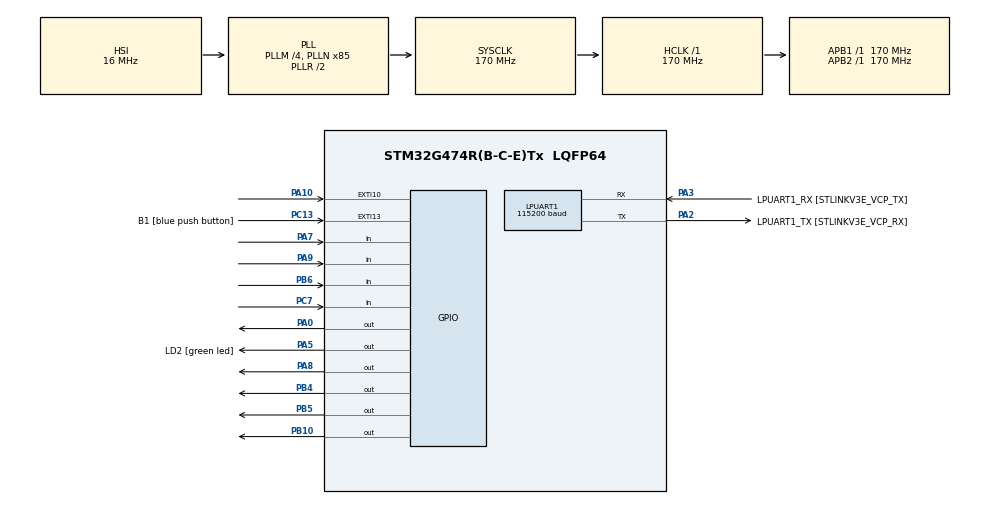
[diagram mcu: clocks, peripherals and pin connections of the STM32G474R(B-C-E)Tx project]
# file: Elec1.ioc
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LPUART1.BaudRate=115200
LPUART1.WordLength=UART_WORDLENGTH_8B
Mcu.Family=STM32G4
Mcu.Name=STM32G474R(B-C-E)Tx
Mcu.Package=LQFP64
NVIC.EXTI15_10_IRQn=true\:0\:0\:false\:false\:true\:true\:true\:true
NVIC.PriorityGroup=NVIC_PRIORITYGROUP_4
PA0.Signal=GPIO_Output
PA10.GPIO_ModeDefaultEXTI=GPIO_MODE_IT_FALLING
PA10.Signal=GPXTI10
PA13.GPIO_Label=T_SWDIO
PA13.Signal=SYS_JTMS-SWDIO
PA14.GPIO_Label=T_SWCLK
PA14.Signal=SYS_JTCK-SWCLK
PA2.GPIO_Label=LPUART1_TX [STLINKV3E_VCP_RX]
PA2.Mode=Asynchronous
PA2.Signal=LPUART1_TX
PA3.GPIO_Label=LPUART1_RX [STLINKV3E_VCP_TX]
PA3.Mode=Asynchronous
PA3.Signal=LPUART1_RX
PA5.GPIO_Label=LD2 [green led]
PA5.Signal=GPIO_Output
PA7.GPIO_Mode=GPIO_MODE_INPUT
PA7.GPIO_PuPd=GPIO_PULLUP
PA7.Signal=GPIO_Input
PA8.GPIO_ModeDefaultOutputPP=GPIO_MODE_OUTPUT_OD
PA8.GPIO_PuPd=GPIO_NOPULL
PA8.PinState=GPIO_PIN_SET
PA8.Signal=GPIO_Output
PA9.GPIO_Mode=GPIO_MODE_INPUT
PA9.GPIO_PuPd=GPIO_PULLUP
PA9.Signal=GPIO_Input
PB10.GPIO_ModeDefaultOutputPP=GPIO_MODE_OUTPUT_OD
PB10.GPIO_PuPd=GPIO_NOPULL
PB10.PinState=GPIO_PIN_SET
PB10.Signal=GPIO_Output
PB3.GPIO_Label=T_SWO
PB3.Signal=SYS_JTDO-SWO
PB4.GPIO_ModeDefaultOutputPP=GPIO_MODE_OUTPUT_OD
PB4.GPIO_PuPd=GPIO_NOPULL
PB4.PinState=GPIO_PIN_SET
PB4.Signal=GPIO_Output
PB5.GPIO_ModeDefaultOutputPP=GPIO_MODE_OUTPUT_OD
PB5.GPIO_PuPd=GPIO_NOPULL
PB5.PinState=GPIO_PIN_SET
PB5.Signal=GPIO_Output
PB6.GPIO_Mode=GPIO_MODE_INPUT
PB6.GPIO_PuPd=GPIO_PULLUP
PB6.Signal=GPIO_Input
PC13.GPIO_Label=B1 [blue push button]
PC13.Signal=GPXTI13
PC14-OSC32_IN.Mode=LSE-External-Oscillator
PC14-OSC32_IN.Signal=RCC_OSC32_IN
PC15-OSC32_OUT.Mode=LSE-External-Oscillator
PC15-OSC32_OUT.Signal=RCC_OSC32_OUT
PC7.GPIO_Mode=GPIO_MODE_INPUT
PC7.GPIO_PuPd=GPIO_PULLUP
PC7.Signal=GPIO_Input
PF0-OSC_IN.Mode=HSE-External-Oscillator
PF0-OSC_IN.Signal=RCC_OSC_IN
PF1-OSC_OUT.Mode=HSE-External-Oscillator
PF1-OSC_OUT.Signal=RCC_OSC_OUT
ProjectManager.HeapSize=0x200
ProjectManager.StackSize=0x400
ProjectManager.TargetToolchain=STM32CubeIDE
RCC.ADC12Freq_Value=170000000
RCC.ADC345Freq_Value=170000000
RCC.AHBFreq_Value=170000000
RCC.APB1Freq_Value=170000000
RCC.APB1TimFreq_Value=170000000
RCC.APB2Freq_Value=170000000
RCC.APB2TimFreq_Value=170000000
RCC.CortexFreq_Value=170000000
RCC.EXTERNAL_CLOCK_VALUE=12288000
RCC.HCLKFreq_Value=170000000
RCC.HSE_VALUE=24000000
RCC.HSI48_VALUE=48000000
RCC.HSI_VALUE=16000000
RCC.PLLM=RCC_PLLM_DIV4
RCC.PLLN=85
RCC.RTCClockSelection=RCC_RTCCLKSOURCE_LSE
RCC.SYSCLKFreq_VALUE=170000000
RCC.SYSCLKSource=RCC_SYSCLKSOURCE_PLLCLK
RCC.USBFreq_Value=170000000
RCC.VCOOutputFreq_Value=340000000
VP_SYS_VS_DBSignals.Mode=DisableDeadBatterySignals
board=NUCLEO-G474RE

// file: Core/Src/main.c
/* USER CODE BEGIN Header */
/**
  ******************************************************************************
  * @file           : main.c
  * @brief          : Main program body
  ******************************************************************************
  * @attention
  *
  * Copyright (c) 2023 STMicroelectronics.
  * All rights reserved.
  *
  * This software is licensed under terms that can be found in the LICENSE file
  * in the root directory of this software component.
  * If no LICENSE file comes with this software, it is provided AS-IS.
  *
  ******************************************************************************
  */
/* USER CODE END Header */
#include "main.h"

UART_HandleTypeDef hlpuart1;

/* USER CODE BEGIN PV */
struct _ButMtx_Struct
{
GPIO_TypeDef* Port;
uint16_t Pin;
};

struct _ButMtx_Struct BMX_L[4] = {
{GPIOA,GPIO_PIN_9},
{GPIOC,GPIO_PIN_7},
{GPIOB,GPIO_PIN_6},
{GPIOA,GPIO_PIN_7}
};

struct _ButMtx_Struct BMX_R[4] = {
{GPIOB,GPIO_PIN_5},
{GPIOB,GPIO_PIN_4},
{GPIOB,GPIO_PIN_10},
//{GPIOA,GPIO_PIN_8}
};

uint16_t ButtonState = 0;
uint16_t num = 0;
uint16_t myArray[11] = {6,5,3,4,0,5,0,0,0,0,9};
uint16_t keys[11] = {7,4,1,0,8,5,2,9,9,6,3};
uint16_t password[11] = {6,5,3,4,0,5,0,0,0,0,9};
int top = -1;
int status = 0;
int ledState = 1;

/* USER CODE END PV */

void SystemClock_Config(void);
static void MX_GPIO_Init(void);
static void MX_LPUART1_UART_Init(void);
/* USER CODE BEGIN PFP */
void ButtonMatrixRead();
/* USER CODE END PFP */

/* USER CODE BEGIN 0 */
void setArr(uint16_t state){
	int realnum = log2(state);

	if(realnum == 7 || realnum == 11)
		return;
	top++;
	myArray[top] = keys[realnum];
}
void check(){
	for(int i = 0;i<11;i++)
	{
		if(myArray[i] != password[i]){
			status = 0;
			return;
		}
	}
	status = 1;
	return;
}

/* USER CODE END 0 */

int main(void)
{

  /* MCU Configuration--------------------------------------------------------*/

  /* Reset of all peripherals, Initializes the Flash interface and the Systick. */
  HAL_Init();

  /* Configure the system clock */
  SystemClock_Config();

  /* Initialize all configured peripherals */
  MX_GPIO_Init();
  MX_LPUART1_UART_Init();
  /* USER CODE BEGIN 2 */
  HAL_GPIO_WritePin(GPIOA, GPIO_PIN_0,GPIO_PIN_SET);
  /* USER CODE END 2 */

  /* Infinite loop */
  while (1)
  {

    /* USER CODE BEGIN 3 */
	  static uint32_t BTMX_TimeStamp = 0;
	  if(HAL_GetTick() > BTMX_TimeStamp)
	  {
	  BTMX_TimeStamp = HAL_GetTick() + 25; //next scan in 25 ms
	  ButtonMatrixRead();
//	  GPIO_PinState S = HAL_GPIO_ReadPin(GPIOA, GPIO_PIN_10);
	  HAL_GPIO_WritePin(GPIOA, GPIO_PIN_0, !status);
//	  status = S;
//	  if (ButtonState != 0 && ButtonState != 2048 ) {
//		  setArr(ButtonState);
//		while(ButtonState != 0)
//		{
//			ButtonMatrixRead();
//		}
//	  }
//	  if(ButtonState == 2048){
//		  check();
//	  }
//		else if(status == 0){
//			while(status == 0){
//				GPIO_PinState S = HAL_GPIO_ReadPin(GPIOA, GPIO_PIN_10);
//				HAL_GPIO_WritePin(GPIOA, GPIO_PIN_0, S);
//				status = S;
//			}
//			top = -1;
//			  for (int i = 0; i < 11; i++) {
//					myArray[i] = 0;
//				}
//		}

	  }
  }
  /* USER CODE END 3 */
}

void SystemClock_Config(void)
{
  RCC_OscInitTypeDef RCC_OscInitStruct = {0};
  RCC_ClkInitTypeDef RCC_ClkInitStruct = {0};

  /** Configure the main internal regulator output voltage
  */
  HAL_PWREx_ControlVoltageScaling(PWR_REGULATOR_VOLTAGE_SCALE1_BOOST);

  /** Initializes the RCC Oscillators according to the specified parameters
  * in the RCC_OscInitTypeDef structure.
  */
  RCC_OscInitStruct.OscillatorType = RCC_OSCILLATORTYPE_HSI;
  RCC_OscInitStruct.HSIState = RCC_HSI_ON;
  RCC_OscInitStruct.HSICalibrationValue = RCC_HSICALIBRATION_DEFAULT;
  RCC_OscInitStruct.PLL.PLLState = RCC_PLL_ON;
  RCC_OscInitStruct.PLL.PLLSource = RCC_PLLSOURCE_HSI;
  RCC_OscInitStruct.PLL.PLLM = RCC_PLLM_DIV4;
  RCC_OscInitStruct.PLL.PLLN = 85;
  RCC_OscInitStruct.PLL.PLLP = RCC_PLLP_DIV2;
  RCC_OscInitStruct.PLL.PLLQ = RCC_PLLQ_DIV2;
  RCC_OscInitStruct.PLL.PLLR = RCC_PLLR_DIV2;
  if (HAL_RCC_OscConfig(&RCC_OscInitStruct) != HAL_OK)
  {
    Error_Handler();
  }

  /** Initializes the CPU, AHB and APB buses clocks
  */
  RCC_ClkInitStruct.ClockType = RCC_CLOCKTYPE_HCLK|RCC_CLOCKTYPE_SYSCLK
                              |RCC_CLOCKTYPE_PCLK1|RCC_CLOCKTYPE_PCLK2;
  RCC_ClkInitStruct.SYSCLKSource = RCC_SYSCLKSOURCE_PLLCLK;
  RCC_ClkInitStruct.AHBCLKDivider = RCC_SYSCLK_DIV1;
  RCC_ClkInitStruct.APB1CLKDivider = RCC_HCLK_DIV1;
  RCC_ClkInitStruct.APB2CLKDivider = RCC_HCLK_DIV1;

  if (HAL_RCC_ClockConfig(&RCC_ClkInitStruct, FLASH_LATENCY_4) != HAL_OK)
  {
    Error_Handler();
  }
}

static void MX_LPUART1_UART_Init(void)
{

  hlpuart1.Instance = LPUART1;
  hlpuart1.Init.BaudRate = 115200;
  hlpuart1.Init.WordLength = UART_WORDLENGTH_8B;
  hlpuart1.Init.StopBits = UART_STOPBITS_1;
  hlpuart1.Init.Parity = UART_PARITY_NONE;
  hlpuart1.Init.Mode = UART_MODE_TX_RX;
  hlpuart1.Init.HwFlowCtl = UART_HWCONTROL_NONE;
  hlpuart1.Init.OneBitSampling = UART_ONE_BIT_SAMPLE_DISABLE;
  hlpuart1.Init.ClockPrescaler = UART_PRESCALER_DIV1;
  hlpuart1.AdvancedInit.AdvFeatureInit = UART_ADVFEATURE_NO_INIT;
  if (HAL_UART_Init(&hlpuart1) != HAL_OK)
  {
    Error_Handler();
  }
  if (HAL_UARTEx_SetTxFifoThreshold(&hlpuart1, UART_TXFIFO_THRESHOLD_1_8) != HAL_OK)
  {
    Error_Handler();
  }
  if (HAL_UARTEx_SetRxFifoThreshold(&hlpuart1, UART_RXFIFO_THRESHOLD_1_8) != HAL_OK)
  {
    Error_Handler();
  }
  if (HAL_UARTEx_DisableFifoMode(&hlpuart1) != HAL_OK)
  {
    Error_Handler();
  }

}

static void MX_GPIO_Init(void)
{
  GPIO_InitTypeDef GPIO_InitStruct = {0};

  /* GPIO Ports Clock Enable */
  __HAL_RCC_GPIOC_CLK_ENABLE();
  __HAL_RCC_GPIOF_CLK_ENABLE();
  __HAL_RCC_GPIOA_CLK_ENABLE();
  __HAL_RCC_GPIOB_CLK_ENABLE();

  /*Configure GPIO pin Output Level */
  HAL_GPIO_WritePin(GPIOA, GPIO_PIN_0|LD2_Pin, GPIO_PIN_RESET);

  /*Configure GPIO pin Output Level */
  HAL_GPIO_WritePin(GPIOB, GPIO_PIN_10|GPIO_PIN_4|GPIO_PIN_5, GPIO_PIN_SET);

  /*Configure GPIO pin Output Level */
  HAL_GPIO_WritePin(GPIOA, GPIO_PIN_8, GPIO_PIN_SET);

  /*Configure GPIO pin : B1_Pin */
  GPIO_InitStruct.Pin = B1_Pin;
  GPIO_InitStruct.Mode = GPIO_MODE_IT_RISING;
  GPIO_InitStruct.Pull = GPIO_NOPULL;
  HAL_GPIO_Init(B1_GPIO_Port, &GPIO_InitStruct);

  /*Configure GPIO pins : PA0 LD2_Pin */
  GPIO_InitStruct.Pin = GPIO_PIN_0|LD2_Pin;
  GPIO_InitStruct.Mode = GPIO_MODE_OUTPUT_PP;
  GPIO_InitStruct.Pull = GPIO_NOPULL;
  GPIO_InitStruct.Speed = GPIO_SPEED_FREQ_LOW;
  HAL_GPIO_Init(GPIOA, &GPIO_InitStruct);

  /*Configure GPIO pins : PA7 PA9 */
  GPIO_InitStruct.Pin = GPIO_PIN_7|GPIO_PIN_9;
  GPIO_InitStruct.Mode = GPIO_MODE_INPUT;
  GPIO_InitStruct.Pull = GPIO_PULLUP;
  HAL_GPIO_Init(GPIOA, &GPIO_InitStruct);

  /*Configure GPIO pins : PB10 PB4 PB5 */
  GPIO_InitStruct.Pin = GPIO_PIN_10|GPIO_PIN_4|GPIO_PIN_5;
  GPIO_InitStruct.Mode = GPIO_MODE_OUTPUT_OD;
  GPIO_InitStruct.Pull = GPIO_NOPULL;
  GPIO_InitStruct.Speed = GPIO_SPEED_FREQ_LOW;
  HAL_GPIO_Init(GPIOB, &GPIO_InitStruct);

  /*Configure GPIO pin : PC7 */
  GPIO_InitStruct.Pin = GPIO_PIN_7;
  GPIO_InitStruct.Mode = GPIO_MODE_INPUT;
  GPIO_InitStruct.Pull = GPIO_PULLUP;
  HAL_GPIO_Init(GPIOC, &GPIO_InitStruct);

  /*Configure GPIO pin : PA8 */
  GPIO_InitStruct.Pin = GPIO_PIN_8;
  GPIO_InitStruct.Mode = GPIO_MODE_OUTPUT_OD;
  GPIO_InitStruct.Pull = GPIO_NOPULL;
  GPIO_InitStruct.Speed = GPIO_SPEED_FREQ_LOW;
  HAL_GPIO_Init(GPIOA, &GPIO_InitStruct);

  /*Configure GPIO pin : PA10 */
  GPIO_InitStruct.Pin = GPIO_PIN_10;
  GPIO_InitStruct.Mode = GPIO_MODE_IT_FALLING;
  GPIO_InitStruct.Pull = GPIO_NOPULL;
  HAL_GPIO_Init(GPIOA, &GPIO_InitStruct);

  /*Configure GPIO pin : PB6 */
  GPIO_InitStruct.Pin = GPIO_PIN_6;
  GPIO_InitStruct.Mode = GPIO_MODE_INPUT;
  GPIO_InitStruct.Pull = GPIO_PULLUP;
  HAL_GPIO_Init(GPIOB, &GPIO_InitStruct);

  /* EXTI interrupt init*/
  HAL_NVIC_SetPriority(EXTI15_10_IRQn, 0, 0);
  HAL_NVIC_EnableIRQ(EXTI15_10_IRQn);

}

/* USER CODE BEGIN 4 */
void ButtonMatrixRead(){
static uint8_t X=0;
for(int i=0; i<4; i++)
{
if(HAL_GPIO_ReadPin(BMX_L[i].Port, BMX_L[i].Pin) == GPIO_PIN_RESET)
{ //�?ุ�?มถู�?�?ด
ButtonState |= 1 << (i + (X * 4));
setArr(ButtonState);
if(ButtonState == 2048){
		  check();
		  return;
}
while(HAL_GPIO_ReadPin(BMX_L[i].Port, BMX_L[i].Pin) == GPIO_PIN_RESET)
	  		{

	  		}
}
else
{
ButtonState &= ~(1 << (i + (X * 4)));
}
}
//set currentL to Hi-z (open drain)
HAL_GPIO_WritePin(BMX_R[X].Port, BMX_R[X].Pin, GPIO_PIN_SET);
//set nextL to low
uint8_t nextX = (X + 1) % 3;
HAL_GPIO_WritePin(BMX_R[nextX].Port, BMX_R[nextX].Pin, GPIO_PIN_RESET);
X = nextX;
}

void HAL_GPIO_EXTI_Callback(uint16_t GPIO_Pin)
{
if(GPIO_Pin == GPIO_PIN_10)
{
			top = -1;
			 for (int i = 0; i < 11; i++) {
					myArray[i] = 0;
				}
			 status = 0;
}
}
/* USER CODE END 4 */

void Error_Handler(void)
{
  __disable_irq();
  while (1)
  {
  }
}
